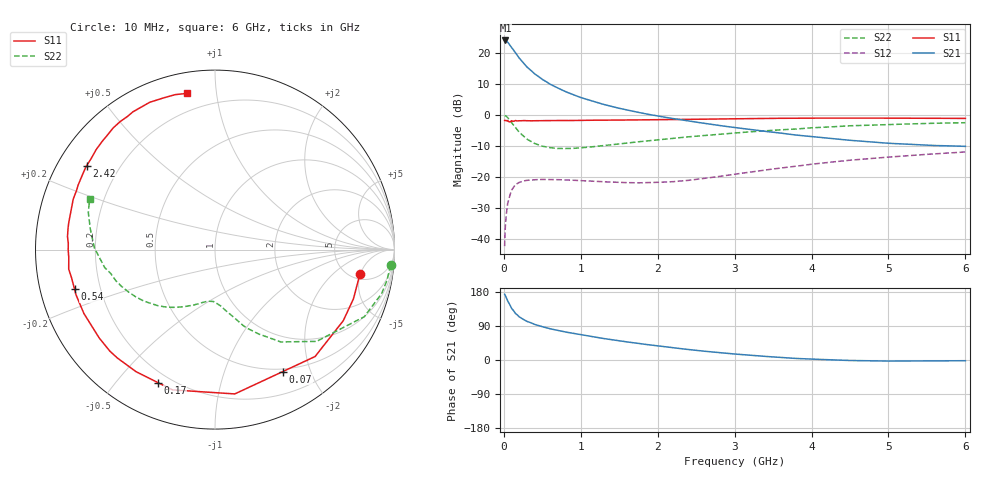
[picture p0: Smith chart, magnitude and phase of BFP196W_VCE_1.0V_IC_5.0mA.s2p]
! Infineon Technologies  Discrete & RF Semiconductors
! BFP196W
! VCE = 1.0 V,  IC = 5.0mA
! Common Emitter S-Parameters:  Jan 2016
# GHz  S  MA  R  50
!  f  S11  S21  S12  S22
! GHz  MAG  ANG  MAG  ANG  MAG  ANG  MAG  ANG
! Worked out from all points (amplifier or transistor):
!   210 points, 10 MHz to 6 GHz, reference 50 ohm
!   highest |S21| = 24.1 dB at 20 MHz (marker M1)
!   |S21| within 3 dB of that: start of sweep to 123.4 MHz
!   unconditionally stable (mu >= 1): 1.398 GHz to 3.532 GHz; 3.748 GHz to 3.809 GHz; 5.355 GHz to end of sweep
!   at 185 MHz: K = 0.14, MSG = 20.4 dB, |S12| = -21.9 dB
!   at 1.52 GHz: K = 1.09, MAG = 10.1 dB, |S12| = -21.8 dB
!   at 6 GHz: K = 1.04, MAG = -0.4 dB, |S12| = -11.9 dB
!   S11 on the Smith chart (normalised r, x): 10 MHz: 5.86, -4.91; 70 MHz: 0.47, -1.60; 170 MHz: 0.15, -0.65; 540 MHz: 0.11, -0.14; 2.42 GHz: 0.09, +0.30; 6 GHz: 0.10, +0.83
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0.01  0.8188 -9.7  15.81 173.5  0.0077 83.9  0.9821 -5.1
0.02  0.8187 -19.6  15.95 169.9  0.0163 79.4  0.9735 -10.1
0.03  0.8171 -29.0  15.73 165.1  0.0238 75.8  0.9598 -14.9
0.05  0.8159 -46.9  15.02 155.4  0.0376 66.9  0.9119 -24.2
0.07  0.7775 -60.9  13.81 148.7  0.0466 57.7  0.8427 -30.6
0.1  0.8116 -82.2  12.44 136.5  0.0615 49.3  0.7627 -42.1
0.15  0.8168 -106.9  10.16 123.1  0.0755 38.0  0.6322 -54.5
0.17  0.8065 -113.3  9.384 119.9  0.078 34.9  0.5899 -57.4
0.2  0.81 -122.9  8.295 113.9  0.0821 30.6  0.5299 -62.6
0.24  0.8128 -132.0  7.255 108.7  0.0854 26.2  0.4768 -67.4
0.3  0.8117 -142.5  5.966 101.9  0.0887 21.7  0.4092 -72.8
0.4  0.8125 -154.0  4.625 93.9  0.0908 16.6  0.3489 -79.5
0.54  0.8126 -164.3  3.517 85.8  0.0914 13.2  0.3083 -85.9
0.8  0.8157 -176.2  2.388 73.9  0.0898 10.3  0.2891 -95.1
1.02  0.8195 176.9  1.883 66.0  0.0873 10.0  0.298 -101.6
1.44  0.8293 166.7  1.341 52.5  0.0826 13.6  0.3371 -112.7
2.02  0.8433 154.4  0.958 36.7  0.0824 25.4  0.4006 -126.6
2.42  0.8545 146.8  0.795 27.2  0.0893 33.7  0.4482 -136.0
3.1  0.8728 134.8  0.608 14.2  0.1157 42.3  0.5258 -151.8
4.1  0.8933 119.4  0.439 1.6  0.1664 41.9  0.631 -172.9
5.1  0.8918 107.8  0.346 -2.7  0.2145 35.0  0.7093 169.3
6  0.884 100.1  0.313 -1.9  0.2543 28.0  0.753 158.1
